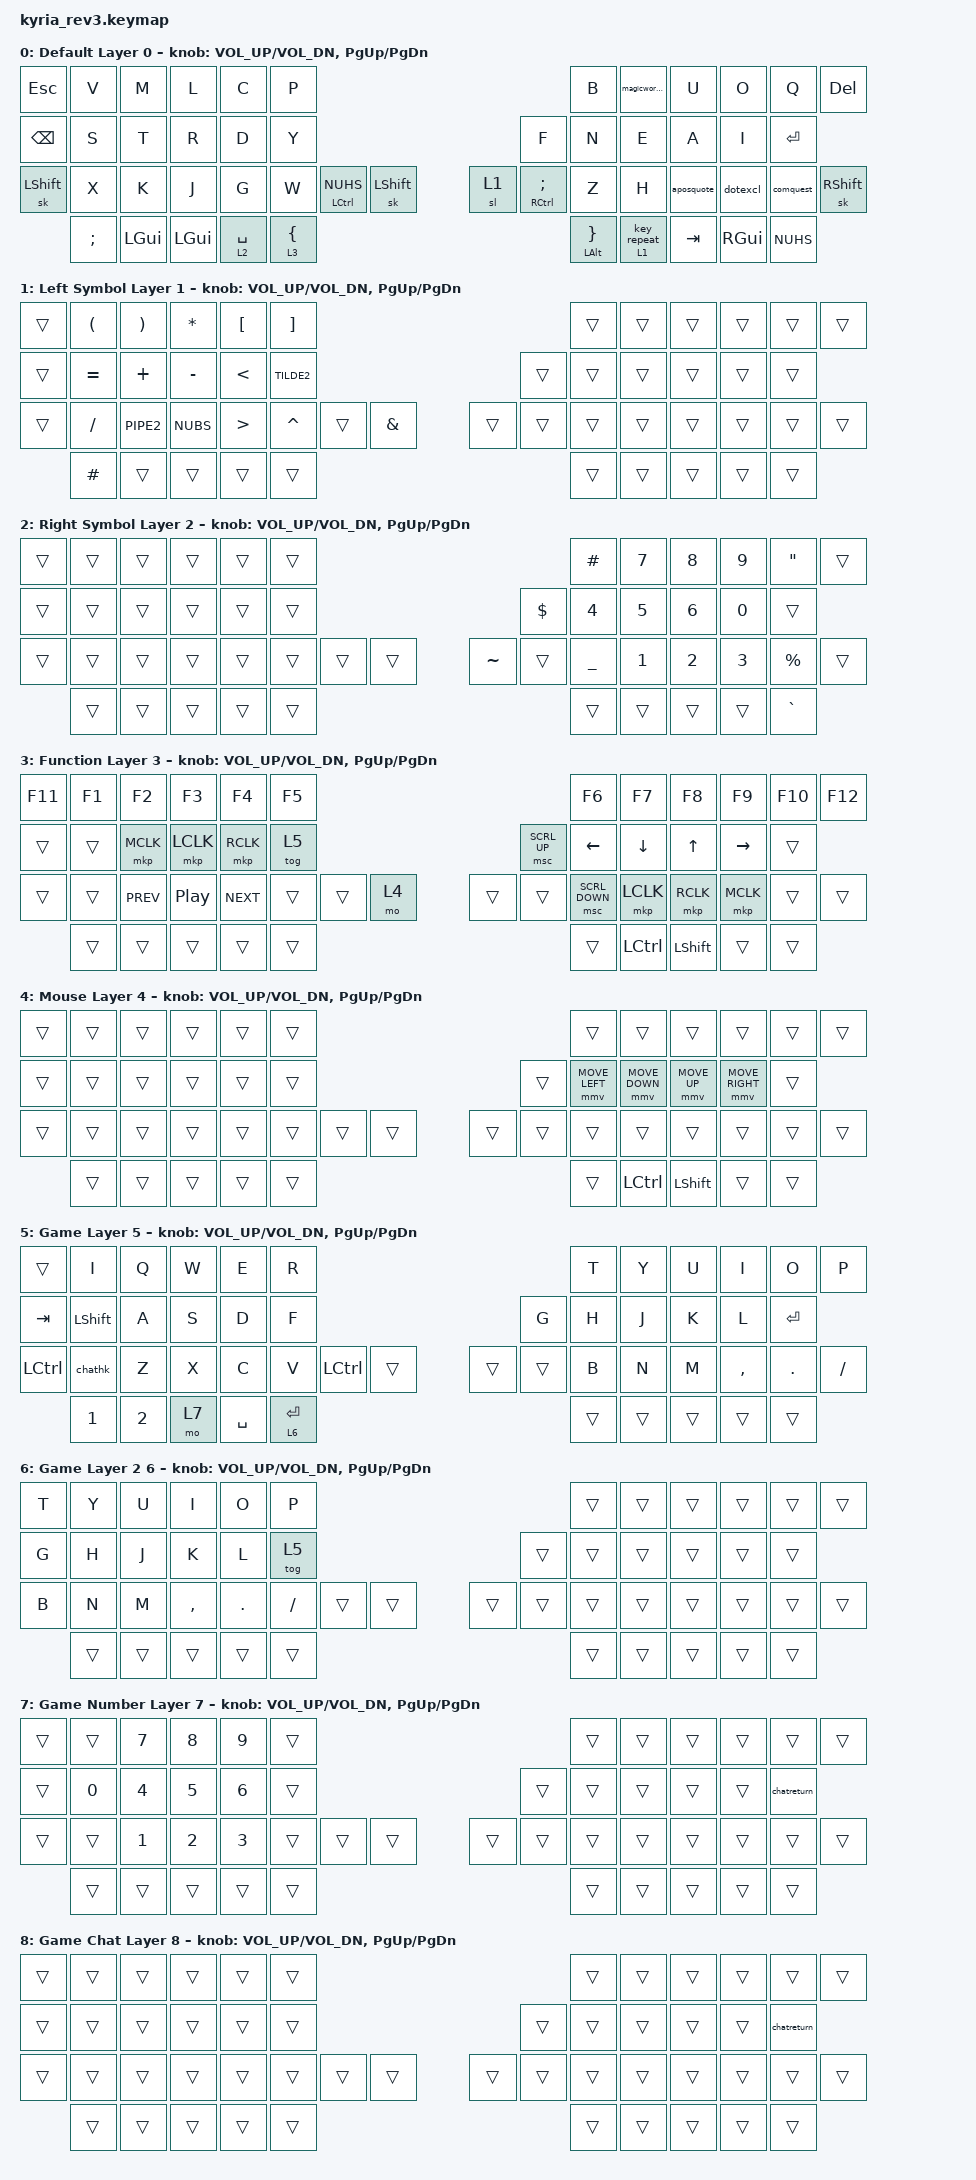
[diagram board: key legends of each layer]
/*
 * Copyright (c) 2023 The ZMK Contributors
 *
 * SPDX-License-Identifier: MIT
 */

#include <behaviors.dtsi>
#include <dt-bindings/zmk/bt.h>
#include <dt-bindings/zmk/keys.h>
#include <dt-bindings/zmk/behaviors.h>

#define ZMK_POINTING_DEFAULT_MOVE_VAL 600  // default: 600
#define ZMK_POINTING_DEFAULT_SCRL_VAL 600   // default: 10

#include <dt-bindings/zmk/pointing.h>

/* Uncomment this block if using RGB
&led_strip {
    chain-length = <6>;
    // chain-length = <31>; // Uncomment if using both per-key and underglow LEDs
    // chain-length = <25>; // Uncomment if using only per-key LEDs.
};
 */

&sk {
    release-after-ms = <500>;
    ignore-modifiers;
    quick-release;
};


/ {
    macros {
        bmagic: b_sequence {
            compatible = "zmk,behavior-macro";
            #binding-cells = <0>;
            wait-ms = <1>;
            tap-ms = <1>;
            bindings = <&macro_tap &kp E &kp C &kp A &kp U &kp S &kp E>;
        };
        imagic: i_sequence {
            compatible = "zmk,behavior-macro";
            #binding-cells = <0>;
            wait-ms = <1>;
            tap-ms = <1>;
            bindings = <&macro_tap &kp O &kp N>;
        };
        jmagic: j_sequence {
            compatible = "zmk,behavior-macro";
            #binding-cells = <0>;
            wait-ms = <1>;
            tap-ms = <1>;
            bindings = <&macro_tap &kp U &kp S &kp T>;
        };
        mmagic: m_sequence {
            compatible = "zmk,behavior-macro";
            #binding-cells = <0>;
            wait-ms = <1>;
            tap-ms = <1>;
            bindings = <&macro_tap &kp E &kp N &kp T>;
        };
        nmagic: n_sequence {
            compatible = "zmk,behavior-macro";
            #binding-cells = <0>;
            wait-ms = <1>;
            tap-ms = <1>;
            bindings = <&macro_tap &kp I &kp O &kp N>;
        };
        tmagic: t_sequence {
            compatible = "zmk,behavior-macro";
            #binding-cells = <0>;
            wait-ms = <1>;
            tap-ms = <1>;
            bindings = <&macro_tap &kp M &kp E &kp N &kp T>;
        };
        vmagic: v_sequence {
            compatible = "zmk,behavior-macro";
            #binding-cells = <0>;
            wait-ms = <1>;
            tap-ms = <1>;
            bindings = <&macro_tap &kp E &kp R>;
        };
        wmagic: w_sequence {
            compatible = "zmk,behavior-macro";
            #binding-cells = <0>;
            wait-ms = <1>;
            tap-ms = <1>;
            bindings = <&macro_tap &kp H &kp E &kp R &kp E>;
        };
        xmagic: x_sequence {
            compatible = "zmk,behavior-macro";
            #binding-cells = <0>;
            wait-ms = <1>;
            tap-ms = <1>;
            bindings = <&macro_tap &kp E &kp S>;
        };
        commamagic: comma_sequence {
            compatible = "zmk,behavior-macro";
            #binding-cells = <0>;
            wait-ms = <1>;
            tap-ms = <1>;
            bindings = <&macro_tap &kp SPACE &kp B &kp U &kp T>;
        };
        hashmagic: hash_sequence {
            compatible = "zmk,behavior-macro";
            #binding-cells = <0>;
            wait-ms = <1>;
            tap-ms = <1>;
            bindings = <&macro_tap &kp I &kp N &kp C &kp L &kp U &kp D &kp E>;
        };
        wspcmagic: wspc_sequence {
            compatible = "zmk,behavior-macro";
            #binding-cells = <0>;
            wait-ms = <1>;
            tap-ms = <1>;
            bindings = <&macro_tap &kp T &kp H &kp E>;
        };
        arepeat: a_repeat {
            compatible = "zmk,behavior-macro";
            #binding-cells = <0>;
            wait-ms = <1>;
            tap-ms = <1>;
            bindings = <&macro_tap &kp N &kp D>;
        };
        irepeat: i_repeat {
            compatible = "zmk,behavior-macro";
            #binding-cells = <0>;
            wait-ms = <1>;
            tap-ms = <1>;
            bindings = <&macro_tap &kp N &kp G>;
        };
        wrepeat: w_repeat {
            compatible = "zmk,behavior-macro";
            #binding-cells = <0>;
            wait-ms = <1>;
            tap-ms = <1>;
            bindings = <&macro_tap &kp O &kp U &kp L &kp D>;
        };
        yrepeat: y_repeat {
            compatible = "zmk,behavior-macro";
            #binding-cells = <0>;
            wait-ms = <1>;
            tap-ms = <1>;
            bindings = <&macro_tap &kp O &kp U>;
        };
        commarepeat: comma_repeat {
            compatible = "zmk,behavior-macro";
            #binding-cells = <0>;
            wait-ms = <1>;
            tap-ms = <1>;
            bindings = <&macro_tap &kp SPACE &kp A &kp N &kp D>;
        };
        dotrepeat: dot_repeat {
            compatible = "zmk,behavior-macro";
            #binding-cells = <0>;
            wait-ms = <1>;
            tap-ms = <1>;
            bindings = <&macro_tap &kp C &kp O &kp M>;
        };
        wspcrepeat: wspc_repeat {
            compatible = "zmk,behavior-macro";
            #binding-cells = <0>;
            wait-ms = <1>;
            tap-ms = <1>;
            bindings = <&macro_tap &kp F &kp O &kp R>;
        };
        chathk: chat_hotkey {
            compatible = "zmk,behavior-macro";
            #binding-cells = <0>;
            wait-ms = <1>;
            tap-ms = <1>;
            bindings = <&kp FSLH &tog 5 &tog 8>;
        };
        chatreturn: chat_return {
            compatible = "zmk,behavior-macro";
            #binding-cells = <0>;
            wait-ms = <1>;
            tap-ms = <1>;
            bindings = <&kp RET &tog 5 &tog 8>;
        };
    };

    behaviors {
        my_lt: my_layer_tap {
            compatible = "zmk,behavior-hold-tap";
            #binding-cells = <2>;
            flavor = "balanced";
            tapping-term-ms = <200>;
            bindings = <&sl>, <&kp>;
            display-name = "My Layer-Tap";
        };
        aposquote: apostrophe_quote {
            compatible = "zmk,behavior-mod-morph";
            #binding-cells = <0>;
            bindings = <&kp APOS>, <&kp AT>;
            mods = <(MOD_LSFT|MOD_RSFT)>;
        };
        dotexcl: dot_exclamation_mark {
            compatible = "zmk,behavior-mod-morph";
            #binding-cells = <0>;
            bindings = <&kp DOT>, <&kp EXCL>;
            mods = <(MOD_LSFT|MOD_RSFT)>;
        };
        comquest: comma_question_mark {
            compatible = "zmk,behavior-mod-morph";
            #binding-cells = <0>;
            bindings = <&kp COMMA>, <&kp QMARK>;
            mods = <(MOD_LSFT|MOD_RSFT)>;
        };
        backword: back_word {
            compatible = "zmk,behavior-mod-morph";
            #binding-cells = <0>;
            bindings = <&kp BSPC>, <&kp LC(BSPC)>;
            mods = <(MOD_LSFT|MOD_RSFT)>;
        };
        leftmouse: left_mouse {
            compatible = "zmk,behavior-mod-morph";
            #binding-cells = <0>;
            bindings = <&kp LEFT>, <&mmv MOVE_LEFT>;
            mods = <(MOD_LSFT|MOD_RSFT)>;
        };
        downmouse: down_mouse {
            compatible = "zmk,behavior-mod-morph";
            #binding-cells = <0>;
            bindings = <&kp DOWN>, <&mmv MOVE_DOWN>;
            mods = <(MOD_LSFT|MOD_RSFT)>;
        };
        upmouse: up_mouse {
            compatible = "zmk,behavior-mod-morph";
            #binding-cells = <0>;
            bindings = <&kp UP>, <&mmv MOVE_UP>;
            mods = <(MOD_LSFT|MOD_RSFT)>;
        };
        rightmouse: right_mouse {
            compatible = "zmk,behavior-mod-morph";
            #binding-cells = <0>;
            bindings = <&kp RIGHT>, <&mmv MOVE_RIGHT>;
            mods = <(MOD_LSFT|MOD_RSFT)>;
        };
        magickey: magic_key {
            compatible = "zmk,behavior-antecedent-morph";
            label = "MAGIC_KEY";
            #binding-cells = <0>;
            defaults = <&kp N>;
            bindings = <&kp O>, <&bmagic>, <&kp Y>, <&kp Y>, <&kp U>,<&kp Y>, <&imagic>, <&jmagic>, <&kp S>, <&kp K>, <&mmagic>, <&nmagic>, <&kp A>, <&kp Y>, <&kp L>, <&kp K>, <&tmagic>, <&kp E>, <&vmagic>, <&wmagic>, <&xmagic>, <&kp P>, <&commamagic>, <&kp BSLH>, <&kp GT>, <&kp GT>, <&wspcmagic>, <&wspcmagic>, <&wspcmagic>, <&wspcmagic>, <&wspcmagic>, <&hashmagic>;
            antecedents = <A B C D E G I J K L M N O P R S T U V W X Y COMMA DOT MINUS EQUAL SPACE TAB RET APOS LPAR NUHS>;
            max-delay-ms = <1000>;
        };
        smartrepeat: smart_repeat {
            compatible = "zmk,behavior-antecedent-morph";
            label = "SMART_REPEAT";
            #binding-cells = <0>;
            defaults = <&kp L>;
            bindings = <&arepeat>, <&kp B>, <&kp C>, <&kp D>, <&kp E>, <&kp F>, <&kp G>, <&kp H>, <&irepeat>, <&kp J>, <&kp K>, <&kp L>, <&kp M>, <&kp N>, <&kp O>, <&kp P>, <&kp Q>, <&kp R>, <&kp S>, <&kp T>, <&kp U>, <&kp V>, <&wrepeat>, <&kp X>, <&yrepeat>, <&kp Z>, <&commarepeat>, <&dotrepeat>, <&wspcrepeat>, <&wspcrepeat>, <&wspcrepeat>, <&wspcrepeat>, <&wspcrepeat>;
            antecedents = <A B C D E F G H I J K L M N O P Q R S T U V W X Y Z COMMA DOT SPACE TAB RET APOS LPAR>;
            max-delay-ms = <1000>;
        };
        layerrepeat: layer_repeat {
            compatible = "zmk,behavior-hold-tap";
            #binding-cells = <2>;
            flavor = "balanced";
            tapping-term-ms = <200>;
            quick-tap-ms = <200>;
            require-prior-idle-ms = <100>;
            bindings = <&mo>, <&smartrepeat>;
            display-name = "Mod-Tap";
        };
        layersimplerepeat: layer_simple_repeat {
            compatible = "zmk,behavior-hold-tap";
            #binding-cells = <2>;
            flavor = "balanced";
            tapping-term-ms = <200>;
            quick-tap-ms = <200>;
            require-prior-idle-ms = <100>;
            bindings = <&mo>, <&key_repeat>;
            display-name = "Mod-Tap";
        };
        magicworkspace: magic_workspace {
            compatible = "zmk,behavior-mod-morph";
            #binding-cells = <0>;
            bindings = <&magickey>, <&kp N7>;
            mods = <(MOD_LGUI|MOD_RGUI)>;
            keep-mods = <(MOD_LGUI|MOD_RGUI)>;
        };
    };

    keymap {
        compatible = "zmk,keymap";

        default_layer {
            display-name = "Default Layer 0";
            // ---------------------------------------------------------------------------------------------------------------------------------
            // |  ESC  |  V  |  M  |  L   |  C   |  P   |                                         |  B   |  MGK   |  U    |  O   |   Q   |  DEL |
            // |  BSPC |  S  |  T  |  R   |  D   |  Y   |                                         |  F   |  N     |  E    |  A   |   I   |  RET |
            // | SHIFT |  X  |  K  |  J   |  G   |  W   | L SHIFT| L SHIFT |  | LAYER 1 | L SHIFT |  Z   |  H     |  '    |  ,   |   .   | SHIFT|
            //                     | GUI  | GUI  | SPACE|  RPT   |   FN    |  |  LALT   | LAYER 1 | TAB  | LCTRL  | R-ALT |
            bindings = <
            &kp ESC   &kp V &kp M &kp L &kp C &kp P                                                 &kp B     &magicworkspace &kp U    &kp O     &kp Q   &kp DEL
            &kp BSPC  &kp S &kp T &kp R &kp D &kp Y                                                 &kp F     &kp N &kp E    &kp A     &kp I   &kp RET
            &sk LSHFT &kp X &kp K &kp J &kp G &kp W &mt LCTRL NUHS &sk LSHFT          &sl 1    &mt RCTRL SEMI &kp Z     &kp H &aposquote &dotexcl  &comquest &sk RSHFT
                        &kp SEMI  &kp LGUI &kp LGUI &my_lt 2 SPACE &my_lt 3 LBRC           &mt LALT RBRC &layersimplerepeat 1 0 &kp TAB &kp RGUI &kp NUHS
            >;

            sensor-bindings = <&inc_dec_kp C_VOL_UP C_VOL_DN &inc_dec_kp PG_UP PG_DN>;
        };
        left_symbol_layer {
            display-name = "Left Symbol Layer 1";
            // ---------------------------------------------------------------------------------------------------------------------------------
            // |  LPAR |      |BT_CLR|BTSEL0|BTSEL1|BTSEL2|                                         |      |      |      |      |      |      |
            // |       |      |      |BTSEL3|BTSEL4|      |                                         |      |      |      |      |      |      |
            // |       |      |      |      |      |      |      |      |      |      |      |      |      |      |      |      |      |      |
            //                       |      |      |      |      |      |      |      |      |      |      |      |      |
            bindings = <
            &trans &kp LPAR  &kp RPAR &kp ASTRK &kp LBKT &kp RBKT                                      &trans &trans &trans &trans &trans &trans
            &trans &kp EQUAL &kp PLUS &kp MINUS &kp LT   &kp TILDE2                                    &trans &trans &trans &trans &trans &trans
            &trans &kp FSLH  &kp PIPE2 &kp NUBS  &kp GT   &kp CARET  &trans &kp AMPS     &trans &trans &trans &trans &trans &trans &trans &trans
                                      &kp HASH  &trans    &trans    &trans &trans        &trans &trans &trans &trans &trans
            >;

            sensor-bindings = <&inc_dec_kp C_VOL_UP C_VOL_DN &inc_dec_kp PG_UP PG_DN>;
        };
        right_symbol_layer {
            display-name = "Right Symbol Layer 2";
            // ---------------------------------------------------------------------------------------------------------------------------------
            // |  LPAR |      |BT_CLR|BTSEL0|BTSEL1|BTSEL2|                                         |      |      |      |      |      |      |
            // |       |      |      |BTSEL3|BTSEL4|      |                                         |      |      |      |      |      |      |
            // |       |      |      |      |      |      |      |      |      |      |      |      |      |      |      |      |      |      |
            //                       |      |      |      |      |      |      |      |      |      |      |      |      |
            bindings = <
            &trans &trans &trans &trans &trans &trans                                     &kp POUND &kp N7 &kp N8 &kp N9 &kp DQT  &trans
            &trans &trans &trans &trans &trans &trans                                   &kp DOLLAR &kp N4 &kp N5 &kp N6 &kp N0    &trans
            &trans &trans &trans &trans &trans &trans &trans &trans     &kp TILDE &trans &kp UNDER  &kp N1 &kp N2 &kp N3 &kp PRCNT &trans
                                 &trans &trans &trans &trans &trans        &trans &trans &trans &trans &kp GRAVE
            >;

            sensor-bindings = <&inc_dec_kp C_VOL_UP C_VOL_DN &inc_dec_kp PG_UP PG_DN>;
        };
        function_layer {
            display-name = "Function Layer 3";
            // ---------------------------------------------------------------------------------------------------------------------------------
            // |  LPAR |      |BT_CLR|BTSEL0|BTSEL1|BTSEL2|                                         |      |      |      |      |      |      |
            // |       |      |      |BTSEL3|BTSEL4|      |                                         |      |      |      |      |      |      |
            // |       |      |      |      |      |      |      |      |      |      |      |      |      |      |      |      |      |      |
            //                       |      |      |      |      |      |      |      |      |      |      |      |      |
            bindings = <
            &kp F11 &kp F1 &kp F2 &kp F3 &kp F4 &kp F5                                 &kp F6         &kp F7    &kp F8    &kp F9    &kp F10   &kp F12
            &trans  &trans &mkp MCLK &mkp LCLK &mkp RCLK &tog 5                                 &msc SCRL_UP   &kp LEFT  &kp DOWN  &kp UP    &kp RIGHT &trans
            &trans  &trans &kp C_PREV &kp C_PP &kp C_NEXT &trans &trans &mo 4     &trans &trans  &msc SCRL_DOWN &mkp LCLK &mkp RCLK &mkp MCLK &trans    &trans
                                  &trans &trans &trans &trans &trans     &trans &kp LCTRL &kp LSHFT      &trans    &trans
            >;

            sensor-bindings = <&inc_dec_kp C_VOL_UP C_VOL_DN &inc_dec_kp PG_UP PG_DN>;
        };
        mouse_layer {
            display-name = "Mouse Layer 4";
            // ---------------------------------------------------------------------------------------------------------------------------------
            // |  LPAR |      |BT_CLR|BTSEL0|BTSEL1|BTSEL2|                                         |      |      |      |      |      |      |
            // |       |      |      |BTSEL3|BTSEL4|      |                                         |      |      |      |      |      |      |
            // |       |      |      |      |      |      |      |      |      |      |      |      |      |      |      |      |      |      |
            //                       |      |      |      |      |      |      |      |      |      |      |      |      |
            bindings = <
            &trans  &trans &trans &trans &trans &trans                                 &trans    &trans     &trans     &trans   &trans      &trans
            &trans  &trans &trans &trans &trans &trans                                 &trans    &mmv MOVE_LEFT &mmv MOVE_DOWN &mmv MOVE_UP &mmv MOVE_RIGHT &trans
            &trans  &trans &trans &trans &trans &trans &trans &trans     &trans &trans &trans    &trans     &trans     &trans   &trans      &trans
                                  &trans &trans &trans &trans &trans     &trans &kp LCTRL &kp LSHFT &trans     &trans
            >;

            sensor-bindings = <&inc_dec_kp C_VOL_UP C_VOL_DN &inc_dec_kp PG_UP PG_DN>;
        };
        game_layer {
            display-name = "Game Layer 5";
            // ---------------------------------------------------------------------------------------------------------------------------------
            // |       |      |      |      |      |      |                                         |      |      |      |      |      |      |
            // |       |      |      |      |      |      |                                         |      |      |      |      |      |      |
            // |       |      |      |      |      |      |      |      |      |      |      |      |      |      |      |      |      |      |
            //                       |      |      |      |      |      |      |      |      |      |      |      |      |
            bindings = <
            &trans    &kp I     &kp Q  &kp W  &kp E &kp R                                 &kp T &kp Y &kp U &kp I &kp O &kp P
            &kp TAB   &kp LSHFT &kp A  &kp S  &kp D &kp F                                 &kp G &kp H &kp J &kp K &kp L &kp RET
            &kp LCTRL &chathk    &kp Z  &kp X  &kp C &kp V &kp LCTRL &trans     &trans &trans &kp B &kp N &kp M &kp COMMA &kp DOT &kp FSLH
                                &kp N1 &kp N2 &mo 7 &kp SPACE &my_lt 6 RET     &trans &trans &trans   &trans &trans
            >;

            sensor-bindings = <&inc_dec_kp C_VOL_UP C_VOL_DN &inc_dec_kp PG_UP PG_DN>;
        };
        game_layer_2 {
            display-name = "Game Layer 2 6";
            // ---------------------------------------------------------------------------------------------------------------------------------
            // |       |      |      |      |      |      |                                         |      |      |      |      |      |      |
            // |       |      |      |      |      |      |                                         |      |      |      |      |      |      |
            // |       |      |      |      |      |      |      |      |      |      |      |      |      |      |      |      |      |      |
            //                       |      |      |      |      |      |      |      |      |      |      |      |      |
            bindings = <
            &kp T &kp Y &kp U &kp I &kp O &kp P                                 &trans &trans &trans &trans &trans &trans
            &kp G &kp H &kp J &kp K &kp L &tog 5                                 &trans &trans &trans &trans &trans &trans
            &kp B &kp N &kp M &kp COMMA &kp DOT &kp FSLH &trans &trans     &trans &trans &trans &trans &trans &trans &trans &trans
                                 &trans &trans &trans &trans &trans     &trans &trans &trans &trans &trans
            >;

            sensor-bindings = <&inc_dec_kp C_VOL_UP C_VOL_DN &inc_dec_kp PG_UP PG_DN>;
        };
        game_num_layer {
            display-name = "Game Number Layer 7";
            // ---------------------------------------------------------------------------------------------------------------------------------
            // |  ESC  |  V  |  M  |  L   |  C   |  P   |                                         |  B   |  MGK   |  U    |  O   |   Q   |  DEL |
            // |  BSPC |  S  |  T  |  R   |  D   |  Y   |                                         |  F   |  N     |  E    |  A   |   I   |  RET |
            // | SHIFT |  X  |  K  |  J   |  G   |  W   | L SHIFT| L SHIFT |  | LAYER 1 | L SHIFT |  Z   |  H     |  '    |  ,   |   .   | SHIFT|
            //                     | GUI  | GUI  | SPACE|  RPT   |   FN    |  |  LALT   | LAYER 1 | TAB  | LCTRL  | R-ALT |
            bindings = <
            &trans &trans &kp N7 &kp N8 &kp N9 &trans                                     &trans &trans &trans &trans &trans &trans
            &trans &kp N0 &kp N4 &kp N5 &kp N6 &trans                                     &trans &trans &trans &trans &trans &chatreturn
            &trans &trans &kp N1 &kp N2 &kp N3 &trans &trans &trans         &trans &trans &trans &trans &trans &trans &trans &trans
                                 &trans &trans &trans &trans &trans         &trans &trans &trans &trans &trans
            >;

            sensor-bindings = <&inc_dec_kp C_VOL_UP C_VOL_DN &inc_dec_kp PG_UP PG_DN>;
        };
        game_chat_layer {
            display-name = "Game Chat Layer 8";
            // ---------------------------------------------------------------------------------------------------------------------------------
            // |  ESC  |  V  |  M  |  L   |  C   |  P   |                                         |  B   |  MGK   |  U    |  O   |   Q   |  DEL |
            // |  BSPC |  S  |  T  |  R   |  D   |  Y   |                                         |  F   |  N     |  E    |  A   |   I   |  RET |
            // | SHIFT |  X  |  K  |  J   |  G   |  W   | L SHIFT| L SHIFT |  | LAYER 1 | L SHIFT |  Z   |  H     |  '    |  ,   |   .   | SHIFT|
            //                     | GUI  | GUI  | SPACE|  RPT   |   FN    |  |  LALT   | LAYER 1 | TAB  | LCTRL  | R-ALT |
            bindings = <
            &trans &trans &trans &trans &trans &trans                                     &trans &trans &trans &trans &trans &trans
            &trans &trans &trans &trans &trans &trans                                     &trans &trans &trans &trans &trans &chatreturn
            &trans &trans &trans &trans &trans &trans &trans &trans         &trans &trans &trans &trans &trans &trans &trans &trans
                                 &trans &trans &trans &trans &trans         &trans &trans &trans &trans &trans
            >;

            sensor-bindings = <&inc_dec_kp C_VOL_UP C_VOL_DN &inc_dec_kp PG_UP PG_DN>;
        };
    };
};
